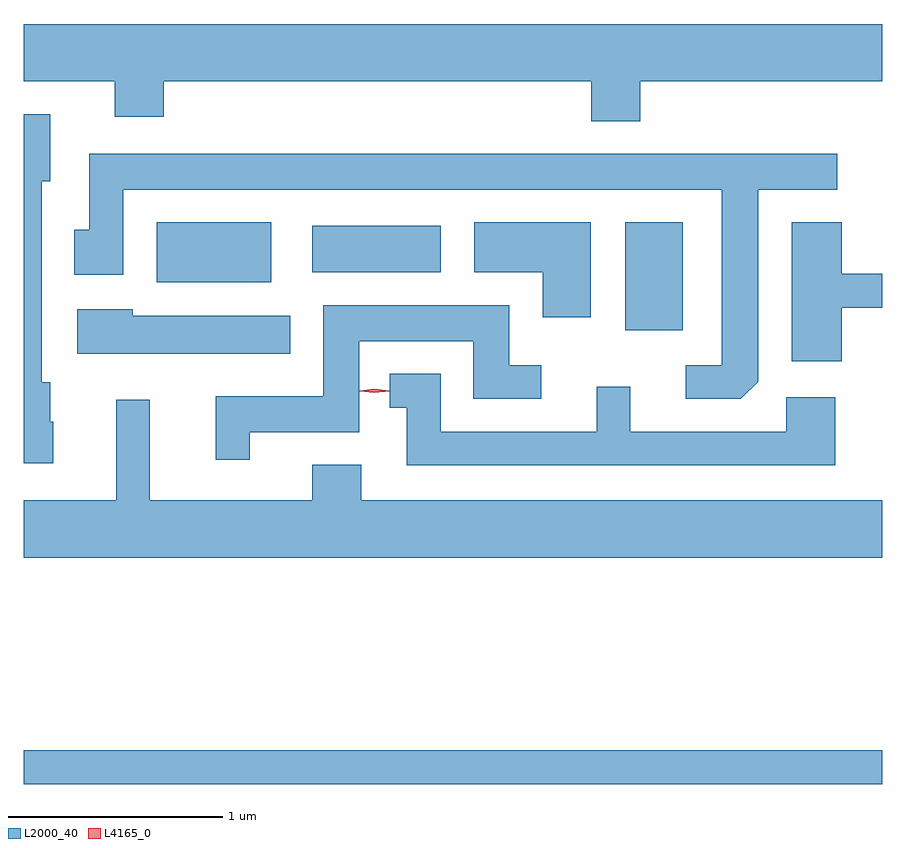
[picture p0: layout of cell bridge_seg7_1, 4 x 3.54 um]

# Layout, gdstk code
import gdstk
lib = gdstk.Library(unit=1e-6, precision=1e-09)
def R(c, l, rs):  # rectangles x0, y0, x1, y1
    for r in rs: c.add(gdstk.rectangle(r[:2], r[2:], *l))
def P(c, l, *ps):  # polygons
    for p in ps: c.add(gdstk.Polygon(p, *l))
L2000_40 = (2000, 40)
L4165_0 = (4165, 0)

bridge_seg7_1 = lib.new_cell('bridge_seg7_1')
R(bridge_seg7_1, L2000_40, [(1681.697,1797.621,1685.697,1797.779), (1684.501,1799.736,1684.769,1800.239), (1682.316,1799.961,1682.849,1800.239), (1683.041,1800.006,1683.639,1800.224)])
P(bridge_seg7_1, L2000_40, [(1684.569,1800.896),(1685.697,1800.896),(1685.697,1801.164),(1681.697,1801.164),(1681.697,1800.896),(1682.121,1800.896),(1682.121,1800.731),(1682.349,1800.731),(1682.349,1800.896),(1684.341,1800.896),(1684.341,1800.711),(1684.569,1800.711)],
  [(1681.834,1799.31),(1681.819,1799.31),(1681.819,1799.494),(1681.779,1799.494),(1681.779,1800.431),(1681.819,1800.431),(1681.819,1800.744),(1681.697,1800.744),(1681.697,1799.116),(1681.834,1799.116)],
  [(1685.119,1799.497),(1685.119,1800.391),(1685.488,1800.391),(1685.488,1800.559),(1682.001,1800.559),(1682.001,1800.204),(1681.931,1800.204),(1681.931,1799.996),(1682.159,1799.996),(1682.159,1800.391),(1684.951,1800.391),(1684.951,1799.574),(1684.783,1799.574),(1684.783,1799.416),(1685.039,1799.416)],
  [(1684.339,1800.239),(1683.796,1800.239),(1683.796,1800.006),(1684.116,1800.006),(1684.116,1799.796),(1684.339,1799.796)],
  [(1685.509,1799.841),(1685.697,1799.841),(1685.697,1799.999),(1685.509,1799.999),(1685.509,1800.239),(1685.276,1800.239),(1685.276,1799.591),(1685.509,1799.591)],
  [(1682.749,1799.261),(1683.259,1799.261),(1683.259,1799.686),(1683.791,1799.686),(1683.791,1799.416),(1684.108,1799.416),(1684.108,1799.574),(1683.959,1799.574),(1683.959,1799.854),(1683.091,1799.854),(1683.091,1799.429),(1682.591,1799.429),(1682.591,1799.133),(1682.749,1799.133)],
  [(1682.939,1799.804),(1682.204,1799.804),(1682.204,1799.834),(1681.946,1799.834),(1681.946,1799.626),(1682.939,1799.626)],
  [(1685.479,1799.424),(1685.251,1799.424),(1685.251,1799.264),(1684.524,1799.264),(1684.524,1799.473),(1684.366,1799.473),(1684.366,1799.264),(1683.639,1799.264),(1683.639,1799.534),(1683.403,1799.534),(1683.403,1799.376),(1683.481,1799.376),(1683.481,1799.106),(1685.479,1799.106)],
  [(1685.697,1798.944),(1683.269,1798.944),(1683.269,1799.109),(1683.041,1799.109),(1683.041,1798.944),(1682.284,1798.944),(1682.284,1799.413),(1682.126,1799.413),(1682.126,1798.944),(1681.697,1798.944),(1681.697,1798.676),(1685.697,1798.676)])
P(bridge_seg7_1, L4165_0, [(1683.331,1799.444),(1683.262,1799.453),(1683.262,1799.454),(1683.262,1799.454),(1683.331,1799.464),(1683.401,1799.454),(1683.401,1799.454),(1683.401,1799.453)])

lib.write_gds('bridge_seg7_1.gds')
